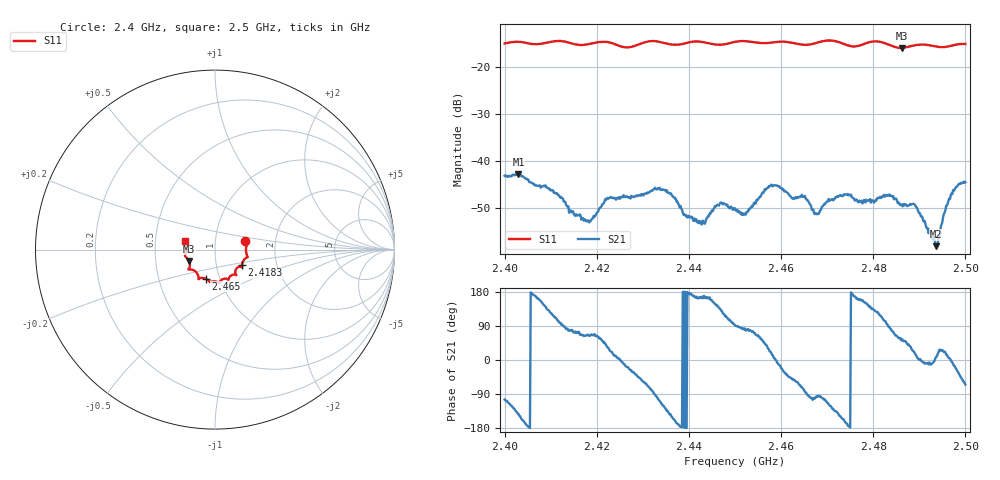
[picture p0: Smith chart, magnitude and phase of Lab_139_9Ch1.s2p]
# Hz S RI R 50
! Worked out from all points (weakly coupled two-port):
!   601 points, 2.4 GHz to 2.5 GHz, reference 50 ohm
!   highest |S21| = -42.87 dB at 2.403 GHz (marker M1); lowest = -58.2 dB at 2.4937 GHz (marker M2)
!   lowest |S11| = -16.1 dB at 2.4862 GHz (marker M3), VSWR 1.37, Z = 37.2 - j4.83 ohm
!   |S11| at or under -10 dB: start of sweep to end of sweep
!   S12 and S22 are empty: the file has one direction only
!   S11 on the Smith chart (normalised r, x): 2.4 GHz: 1.40, +0.13; 2.4183 GHz: 1.33, -0.24; 2.465 GHz: 0.86, -0.29; 2.5 GHz: 0.71, +0.07
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2.4e9  0.1694 0.0459  -0.00172 -0.0067  0 0  0 0
2.403e9  0.1802 0.0329  -0.00569 -0.00439  0 0  0 0
2.416667e9  0.1548 -0.068  0.000979 0.00215  0 0  0 0
2.418333e9  0.15 -0.0871  0.000905 0.00202  0 0  0 0
2.422333e9  0.1525 -0.0992  0.00335 0.00225  0 0  0 0
2.433333e9  0.1177 -0.1411  -0.00122 -0.00498  0 0  0 0
2.442333e9  0.0739 -0.1681  -0.00221 0.00053  0 0  0 0
2.446667e9  0.0469 -0.1636  -0.00253 0.0024  0 0  0 0
2.45e9  0.0255 -0.1811  -6.17e-05 0.00313  0 0  0 0
2.452333e9  0.0209 -0.1847  0.000561 0.00262  0 0  0 0
2.457833e9  -0.0169 -0.1784  0.00523 0.00187  0 0  0 0
2.465e9  -0.0522 -0.1618  0.000717 -0.00405  0 0  0 0
2.466667e9  -0.0713 -0.1574  -0.000527 -0.00297  0 0  0 0
2.467833e9  -0.0825 -0.1589  -0.000233 -0.00269  0 0  0 0
2.474167e9  -0.0956 -0.1402  -0.00425 -0.000975  0 0  0 0
2.477333e9  -0.1256 -0.1126  -0.00341 0.00128  0 0  0 0
2.483333e9  -0.1414 -0.0962  0.000174 0.00424  0 0  0 0
2.486167e9  -0.1439 -0.0633  0.00214 0.00267  0 0  0 0
2.489167e9  -0.1636 -0.0402  0.00321 0.000849  0 0  0 0
2.493667e9  -0.1624 -0.0129  0.00123 0.000164  0 0  0 0
2.496833e9  -0.1633 0.0261  0.00434 -2.13e-05  0 0  0 0
2.5e9  -0.1671 0.0471  0.00252 -0.00534  0 0  0 0
